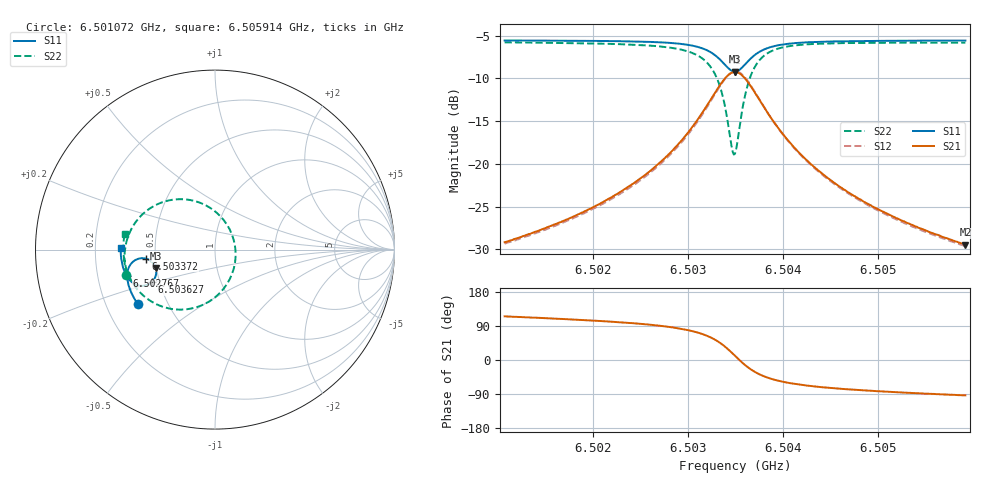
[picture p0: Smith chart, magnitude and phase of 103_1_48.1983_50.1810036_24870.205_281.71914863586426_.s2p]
#  HZ  S  RI  R  50.00
! Rohde & Schwarz Vector Network Analyzer
! Rohde-Schwarz,ZNB20-2Port,1311601062101988,3.16
! Created: UTC 3/20/2024, 11:40:40 AM
! freq[Hz]  re:S11  im:S11  re:S21  im:S21  re:S12  im:S12  re:S22  im:S22
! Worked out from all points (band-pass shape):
!   401 points, 6.501072 GHz to 6.505914 GHz, reference 50 ohm
!   highest |S21| = -9.26 dB at 6.503493 GHz (marker M1); lowest = -29.5 dB at 6.505914 GHz (marker M2)
!   |S21| within 3 dB of the highest: 6.503251 GHz to 6.503736 GHz (484.5 kHz wide, 0.00745 % of centre)
!   lowest |S11| = -9.2 dB at 6.503493 GHz (marker M3), VSWR 2.06, Z = 24.7 - j5.77 ohm
!   |S11| at or under -10 dB: nowhere
!   |S22| runs from -18.9 to -5.8 dB; largest |S21 - S12| = 0.012
!   S11 on the Smith chart (normalised r, x): 6.501072 GHz: 0.34, -0.28; 6.502767 GHz: 0.33, -0.13; 6.503372 GHz: 0.44, -0.05; 6.503627 GHz: 0.45, -0.19; 6.505914 GHz: 0.31, +0.01
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6.5010725e9  -0.4318 -0.3013  -0.0148 0.0315  -0.0131 0.0316  -0.4933 -0.142
6.5018835e9  -0.4659 -0.2402  -0.0139 0.05  -0.0116 0.0494  -0.5045 -0.0534
6.5023435e9  -0.4815 -0.1983  -0.0106 0.0709  -0.0075 0.0695  -0.4993 0.0147
6.5026945e9  -0.4891 -0.1581  -0.00113 0.1006  0.00249 0.098  -0.4783 0.0886
6.5027672e9  -0.4896 -0.1482  0.00312 0.1097  0.00675 0.1067  -0.4693 0.1082
6.5029729e9  -0.4857 -0.1147  0.0247 0.144  0.0284 0.1394  -0.4238 0.1762
6.5031303e9  -0.4705 -0.0824  0.065 0.1805  0.0678 0.1743  -0.3453 0.2401
6.5032756e9  -0.432 -0.0527  0.1481 0.2092  0.149 0.2028  -0.1934 0.281
6.503324e9  -0.4103 -0.048  0.1915 0.2077  0.1916 0.2019  -0.1174 0.2716
6.5033724e9  -0.3847 -0.0503  0.2412 0.1919  0.2414 0.187  -0.0324 0.2359
6.5034571e9  -0.3412 -0.0803  0.3204 0.1156  0.3227 0.1112  0.094 0.0852
6.5034935e9  -0.3303 -0.1027  0.338 0.066  0.3417 0.0603  0.1144 -0.00813
6.5035177e9  -0.3273 -0.1193  0.3412 0.0306  0.3453 0.0237  0.1115 -0.0728
6.503554e9  -0.3298 -0.1436  0.3335 -0.0202  0.337 -0.0294  0.0829 -0.1632
6.5036266e9  -0.3523 -0.1812  0.2858 -0.0974  0.2855 -0.1093  -0.0299 -0.2876
6.5037234e9  -0.3937 -0.201  0.2062 -0.1411  0.2011 -0.1514  -0.192 -0.3344
6.5038808e9  -0.4435 -0.1936  0.117 -0.1402  0.1096 -0.1458  -0.3544 -0.2892
6.5040503e9  -0.4729 -0.1724  0.0684 -0.119  0.0618 -0.1214  -0.4332 -0.2209
6.5043045e9  -0.4956 -0.141  0.0349 -0.0918  0.03 -0.0924  -0.4814 -0.1422
6.5046797e9  -0.5117 -0.1013  0.0149 -0.0668  0.0117 -0.0664  -0.5047 -0.064
6.5051155e9  -0.5207 -0.0601  0.0053 -0.0501  0.00293 -0.0493  -0.5107 -0.000227
6.5059144e9  -0.526 0.0079  -0.00199 -0.0336  -0.00342 -0.0329  -0.5034 0.0868
